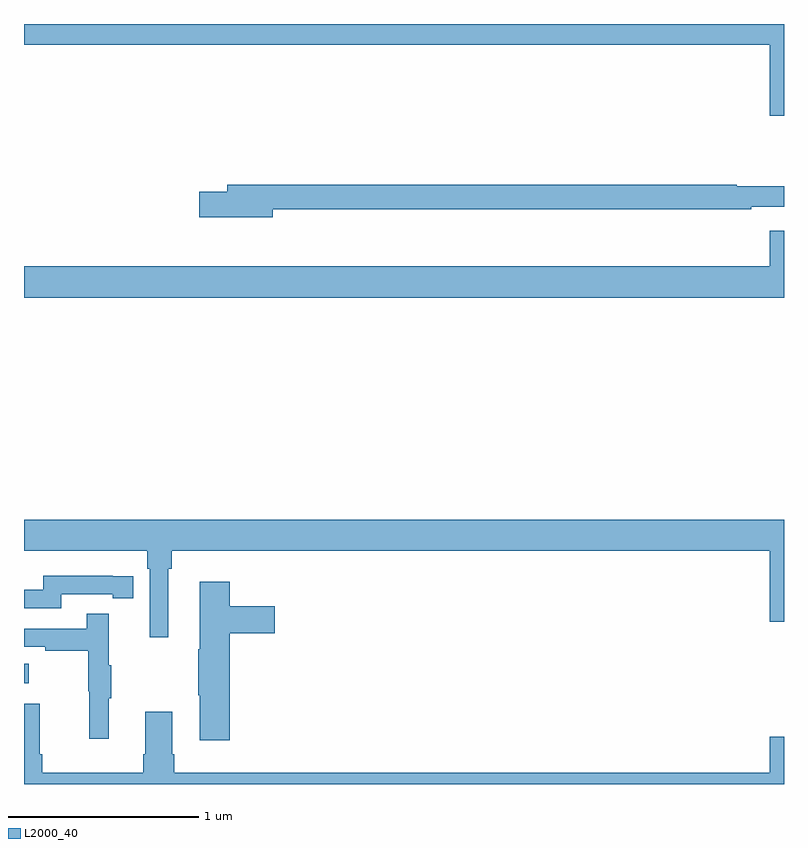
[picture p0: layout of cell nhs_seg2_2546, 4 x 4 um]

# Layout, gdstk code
import gdstk
lib = gdstk.Library(unit=1e-6, precision=1e-09)
def R(c, l, rs):  # rectangles x0, y0, x1, y1
    for r in rs: c.add(gdstk.rectangle(r[:2], r[2:], *l))
def P(c, l, *ps):  # polygons
    for p in ps: c.add(gdstk.Polygon(p, *l))
L2000_40 = (2000, 40)

nhs_seg2_2546 = lib.new_cell('nhs_seg2_2546')
R(nhs_seg2_2546, L2000_40, [(245,588.329,245.026,588.433)])
P(nhs_seg2_2546, L2000_40, [(249,591.8),(245,591.8),(245,591.692),(248.924,591.692),(248.924,591.318),(249,591.318)],
  [(246.31,590.826),(248.828,590.826),(248.828,590.838),(249,590.838),(249,590.947),(248.752,590.947),(248.752,590.954),(246.071,590.954),(246.071,590.918),(245.922,590.918),(245.922,590.783),(246.31,590.783)],
  [(249,590.713),(248.924,590.713),(248.924,590.524),(245,590.524),(245,590.36),(249,590.36)],
  [(245.758,588.932),(245.777,588.932),(245.777,589.028),(248.924,589.028),(248.924,588.654),(249,588.654),(249,589.192),(245,589.192),(245,589.028),(245.648,589.028),(245.648,588.932),(245.661,588.932),(245.661,588.573),(245.758,588.573)],
  [(245.196,588.798),(245.468,588.798),(245.468,588.778),(245.576,588.778),(245.576,588.894),(245.468,588.894),(245.468,588.895),(245.1,588.895),(245.1,588.822),(245,588.822),(245,588.726),(245.196,588.726)],
  [(246.083,588.593),(246.319,588.593),(246.319,588.735),(246.083,588.735),(246.083,588.865),(245.924,588.865),(245.924,588.509),(245.917,588.509),(245.917,588.268),(245.924,588.268),(245.924,588.03),(246.083,588.03)],
  [(245.447,588.251),(245.458,588.251),(245.458,588.425),(245.447,588.425),(245.447,588.697),(245.329,588.697),(245.329,588.618),(245,588.618),(245,588.522),(245.113,588.522),(245.113,588.502),(245.337,588.502),(245.337,588.288),(245.344,588.288),(245.344,588.039),(245.447,588.039)],
  [(249,588.049),(248.924,588.049),(248.924,587.86),(245.792,587.86),(245.792,587.956),(245.779,587.956),(245.779,588.181),(245.639,588.181),(245.639,587.956),(245.627,587.956),(245.627,587.86),(245.096,587.86),(245.096,587.956),(245.083,587.956),(245.083,588.223),(245,588.223),(245,587.8),(249,587.8)])

lib.write_gds('nhs_seg2_2546.gds')
